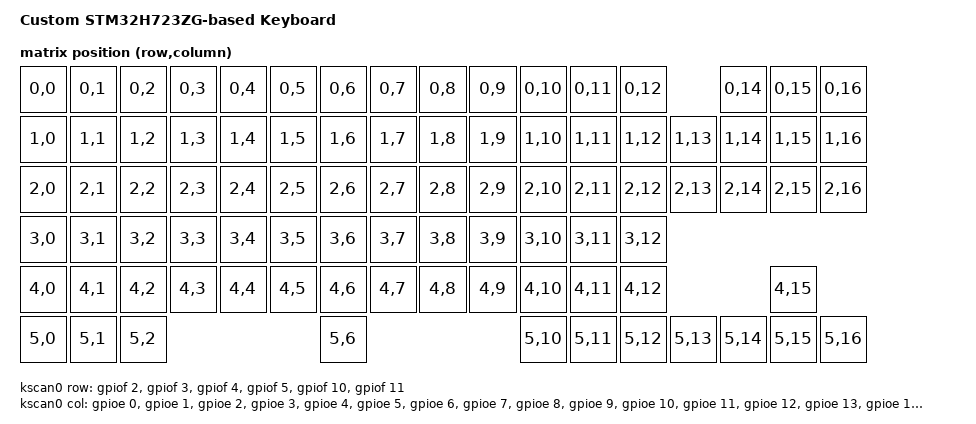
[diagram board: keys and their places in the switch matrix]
/*
 * Copyright (c) 2026 Lawrence Langat <lawrencelangatmi@gmail.com>
 * SPDX-License-Identifier: Apache-2.0
 */

/dts-v1/;
#include <st/h7/stm32h723Xg.dtsi>
#include <st/h7/stm32h723zgtx-pinctrl.dtsi>
#include <dt-bindings/zmk/matrix_transform.h>
#include <dt-bindings/led/led.h>

/ {
	model = "Custom STM32H723ZG-based Keyboard";
	compatible = "generic,keyboard_h723zg";

	chosen {
		zephyr,console = &usart2;
		zephyr,shell-uart = &usart2;
		zephyr,sram = &sram0;
		zephyr,flash = &flash0;
		zephyr,dtcm = &dtcm;
		zmk,kscan = &kscan0;
		zmk,matrix-transform = &default_transform;
	};
    /* Keyboard matrix */
    kscan0: kscan_matrix {
		compatible = "zmk,kscan-gpio-matrix";
		diode-direction = "col2row";
		poll-period-ms = <1>;

        col-gpios = <&gpioe 0 GPIO_ACTIVE_HIGH>,
                    <&gpioe 1 GPIO_ACTIVE_HIGH>,
                    <&gpioe 2 GPIO_ACTIVE_HIGH>,
                    <&gpioe 3 GPIO_ACTIVE_HIGH>,
                    <&gpioe 4 GPIO_ACTIVE_HIGH>,
                    <&gpioe 5 GPIO_ACTIVE_HIGH>,
                    <&gpioe 6 GPIO_ACTIVE_HIGH>,
                    <&gpioe 7 GPIO_ACTIVE_HIGH>,
                    <&gpioe 8 GPIO_ACTIVE_HIGH>,
                    <&gpioe 9 GPIO_ACTIVE_HIGH>,
                    <&gpioe 10 GPIO_ACTIVE_HIGH>,
                    <&gpioe 11 GPIO_ACTIVE_HIGH>,
                    <&gpioe 12 GPIO_ACTIVE_HIGH>,
                    <&gpioe 13 GPIO_ACTIVE_HIGH>,
                    <&gpioe 14 GPIO_ACTIVE_HIGH>,
                    <&gpioe 15 GPIO_ACTIVE_HIGH>,
                    <&gpiof 13 GPIO_ACTIVE_HIGH>;

        row-gpios = <&gpiof 2 (GPIO_PULL_DOWN | GPIO_ACTIVE_HIGH)>,
                    <&gpiof 3 (GPIO_PULL_DOWN | GPIO_ACTIVE_HIGH)>,
                    <&gpiof 4 (GPIO_PULL_DOWN | GPIO_ACTIVE_HIGH)>,
                    <&gpiof 5 (GPIO_PULL_DOWN | GPIO_ACTIVE_HIGH)>,
                    <&gpiof 10 (GPIO_PULL_DOWN | GPIO_ACTIVE_HIGH)>,
                    <&gpiof 11 (GPIO_PULL_DOWN | GPIO_ACTIVE_HIGH)>;
    };

	default_transform: keymap_transform_0 {
		compatible = "zmk,matrix-transform";
		columns = <17>;
		rows = <6>;
		map = <
			RC(0,0) RC(0,1) RC(0,2) RC(0,3) RC(0,4) RC(0,5) RC(0,6) RC(0,7) RC(0,8) RC(0,9) RC(0,10) RC(0,11) RC(0,12)          RC(0,14) RC(0,15) RC(0,16)
			RC(1,0) RC(1,1) RC(1,2) RC(1,3) RC(1,4) RC(1,5) RC(1,6) RC(1,7) RC(1,8) RC(1,9) RC(1,10) RC(1,11) RC(1,12) RC(1,13) RC(1,14) RC(1,15) RC(1,16)
			RC(2,0) RC(2,1) RC(2,2) RC(2,3) RC(2,4) RC(2,5) RC(2,6) RC(2,7) RC(2,8) RC(2,9) RC(2,10) RC(2,11) RC(2,12) RC(2,13) RC(2,14) RC(2,15) RC(2,16)
			RC(3,0) RC(3,1) RC(3,2) RC(3,3) RC(3,4) RC(3,5) RC(3,6) RC(3,7) RC(3,8) RC(3,9) RC(3,10) RC(3,11) RC(3,12)          
			RC(4,0) RC(4,1) RC(4,2) RC(4,3) RC(4,4) RC(4,5) RC(4,6) RC(4,7) RC(4,8) RC(4,9) RC(4,10) RC(4,11) RC(4,12)                   RC(4,15)
			RC(5,0) RC(5,1) RC(5,2)                         RC(5,6)                         RC(5,10) RC(5,11) RC(5,12) RC(5,13) RC(5,14) RC(5,15) RC(5,16)
		>;
	};

    leds {
        compatible = "gpio-leds";
        caps_lock_led: led_caps {
            gpios = <&gpiod 7 GPIO_ACTIVE_HIGH>;
            label = "Caps Lock LED";
        };
    };

	otghs_ulpi_phy: otghs_ulpis_phy {
		compatible = "usb-ulpi-phy";
		#phy-cells = <0>;
	};
};

&clk_lsi {
	status = "okay";
};

&clk_hse {
	clock-frequency = <DT_FREQ_M(25)>;
	status = "okay";
};

&clk_hsi48 {
	status = "okay";
};

&pll {
	div-m = <5>;
	mul-n = <110>;
	div-p = <1>;
	div-q = <5>;
	div-r = <2>;
	clocks = <&clk_hse>;
	status = "okay";
};

&rcc {
	clocks = <&pll>;
	clock-frequency = <DT_FREQ_M(550)>;
	d1cpre = <1>;
	hpre = <2>;    /* HCLK: 275   MHz */
	d1ppre = <2>;  /* APB1: 137.5 MHz */
	d2ppre1 = <2>; /* APB2: 137.5 MHz */
	d2ppre2 = <2>; /* APB3: 137.5 MHz */
	d3ppre = <2>;  /* APB4: 137.5 MHz */
};

&usart2 {
	pinctrl-0 = <&usart2_tx_pa2>;
	pinctrl-names = "default";
	current-speed = <115200>;
	status = "okay";
};

&rtc {
	status = "disabled";
};

&i2c4 {
	pinctrl-0 = <&i2c4_scl_pf14 &i2c4_sda_pf15>;
	pinctrl-names = "default";
	status = "okay";
	clock-frequency = <I2C_BITRATE_FAST>;
};

&i2c2 {
	pinctrl-0 = <&i2c2_scl_pf1 &i2c2_sda_pf0>;
	pinctrl-names = "default";
	status = "okay";
	clock-frequency = <I2C_BITRATE_FAST>;
};

zephyr_udc0: &usbotg_hs {
	status = "okay";
	pinctrl-0 = <&usb_otg_hs_ulpi_ck_pa5
		     &usb_otg_hs_ulpi_d0_pa3
		     &usb_otg_hs_ulpi_d1_pb0
		     &usb_otg_hs_ulpi_d2_pb1
		     &usb_otg_hs_ulpi_d3_pb10
		     &usb_otg_hs_ulpi_d4_pb11
		     &usb_otg_hs_ulpi_d5_pb12
		     &usb_otg_hs_ulpi_d6_pb13
		     &usb_otg_hs_ulpi_d7_pb5
		     &usb_otg_hs_ulpi_stp_pc0
		     &usb_otg_hs_ulpi_dir_pc2_c
		     &usb_otg_hs_ulpi_nxt_pc3_c>;
	pinctrl-names = "default";
	maximum-speed = "high-speed";
	/* Enable OTGHSULPIEN rather than OTGHSEN */
	clocks = <&rcc STM32_CLOCK_BUS_AHB1 0x6000000>,
		 <&rcc STM32_SRC_HSI48 USB_SEL(3)>;
	phys = <&otghs_ulpi_phy>;
	status = "okay";
};
